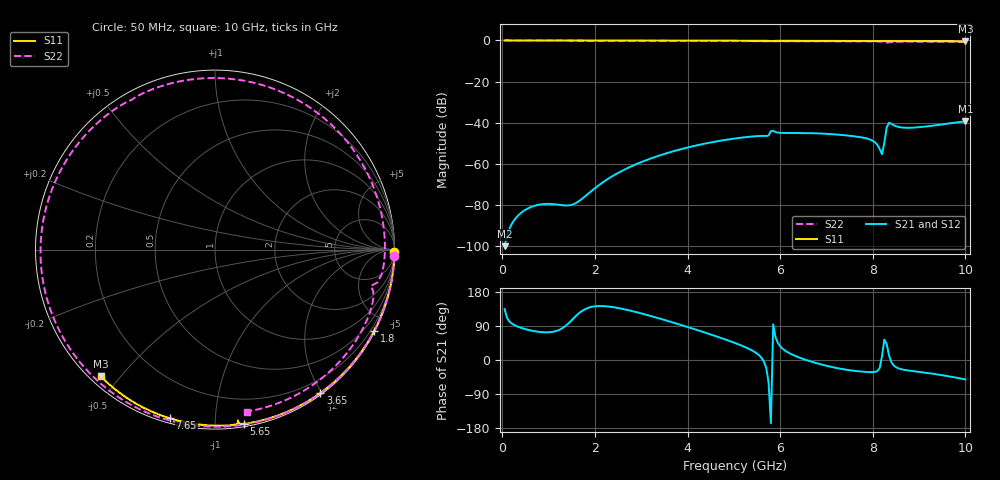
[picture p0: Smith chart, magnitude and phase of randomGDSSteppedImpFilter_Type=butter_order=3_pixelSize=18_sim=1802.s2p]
! freq	dB(S11)	phase(S11)	dB(S12)	phase(S12)
!  dB(S21)	phase(S21)	dB(S22)	phase(S22)
!S-par simulation data
#  GHz  S  DB  R 50
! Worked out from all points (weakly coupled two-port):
!   200 points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, 50 MHz to 10 GHz, reference 50 ohm
!   highest |S21| = -39.24 dB at 10 GHz (marker M1); lowest = -99.9 dB at 50 MHz (marker M2)
!   lowest |S11| = -0.4 dB at 10 GHz (marker M3), VSWR 39.22, Z = 1.53 - j22.2 ohm
!   |S11| at or under -10 dB: nowhere
!   |S22| runs from -1.0 to 0.0 dB; largest |S21 - S12| = 0
!   S11 on the Smith chart (normalised r, x): 50 MHz: open; 1.8 GHz: 0.04, -4.15; 3.65 GHz: 0.02, -1.98; 5.65 GHz: 0.02, -1.18; 7.65 GHz: 0.02, -0.77; 10 GHz: 0.03, -0.44
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0.05  -0.00 -0.8  -99.93 134.4  -99.93 134.4  -0.00 -2.1
0.7  -0.01 -10.7  -80.28 75.8  -80.28 75.8  -0.03 -29.1
1.45  -0.03 -21.9  -80.08 99.1  -80.08 99.1  -0.07 -59.5
1.75  -0.03 -26.4  -76.42 131.7  -76.42 131.7  -0.09 -71.5
1.8  -0.03 -27.1  -75.49 134.9  -75.49 134.9  -0.09 -73.4
2.6  -0.05 -38.8  -63.17 134.8  -63.17 134.8  -0.13 -104.7
3.4  -0.07 -50.2  -55.84 109.3  -55.84 109.3  -0.17 -135.8
3.65  -0.07 -53.7  -54.11 100.3  -54.11 100.3  -0.19 -145.7
4.4  -0.09 -64.0  -50.00 71.4  -50.00 71.4  -0.24 -176.3
5.05  -0.11 -72.7  -47.54 43.7  -47.54 43.7  -0.29 155.1
5.65  -0.14 -80.7  -46.37 -4.2  -46.37 -4.2  -0.34 126.5
5.85  -0.23 -82.2  -43.93 94.2  -43.93 94.2  -0.37 116.7
6.3  -0.16 -88.5  -44.94 12.1  -44.94 12.1  -0.39 93.2
6.7  -0.18 -93.5  -45.05 -5.3  -45.05 -5.3  -0.41 71.6
7.65  -0.24 -105.0  -46.70 -29.2  -46.70 -29.2  -0.45 20.4
8.05  -0.27 -109.7  -49.52 -31.3  -49.52 -31.3  -0.48 -0.3
8.2  -0.28 -111.4  -55.21 10.4  -55.21 10.4  -0.56 -8.6
8.3  -0.28 -112.6  -42.30 42.6  -42.30 42.6  -1.00 -13.1
8.35  -0.28 -113.2  -40.02 12.6  -40.02 12.6  -0.99 -13.1
8.65  -0.31 -116.7  -42.34 -25.3  -42.34 -25.3  -0.59 -26.6
9.15  -0.36 -122.4  -41.79 -33.8  -41.79 -33.8  -0.61 -47.8
10  -0.44 -132.2  -39.24 -51.2  -39.24 -51.2  -0.73 -78.9
